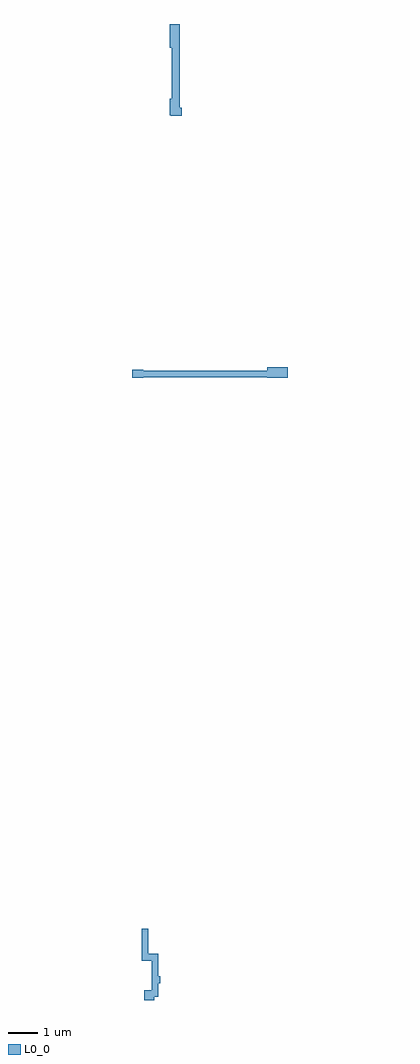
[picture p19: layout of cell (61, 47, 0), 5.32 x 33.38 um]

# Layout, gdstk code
import gdstk
lib = gdstk.Library(unit=1e-6, precision=1e-09)
def P(c, l, *ps):  # polygons
    for p in ps: c.add(gdstk.Polygon(p, *l))
L0_0 = (0, 0)

c__61__47__0_ = lib.new_cell('(61, 47, 0)')
P(c__61__47__0_, L0_0, [(940.64,923.3),(941.02,923.3),(941.02,923.02),(940.64,923.02),(940.64,923.3)],
  [(936.02,923.3),(936.4,923.3),(936.4,923.02),(936.02,923.02),(936.02,923.3)],
  [(940.64,923.39),(941.34,923.39),(941.34,923.02),(940.64,923.02),(940.64,923.39)],
  [(936.095,923.275),(940.83,923.275),(940.83,923.045),(936.095,923.045),(936.095,923.275)],
  [(940.64,923.3),(941.02,923.3),(941.02,923.02),(940.64,923.02),(940.64,923.3)],
  [(940.64,923.39),(941.34,923.39),(941.34,923.02),(940.64,923.02),(940.64,923.39)],
  [(937.65,935.125),(937.65,932),(937.31,932),(937.31,932.57),(937.365,932.57),(937.365,934.315),(937.31,934.315),(937.31,935.125),(937.65,935.125)],
  [(937.34,932.26),(937.72,932.26),(937.72,931.98),(937.34,931.98),(937.34,932.26)],
  [(936.57,904.185),(936.57,903.325),(936.91,903.325),(936.91,902.555),(936.985,902.555),(936.985,902.325),(936.91,902.325),(936.91,901.86),(936.77,901.86),(936.77,901.75),(936.43,901.75),(936.43,902.09),(936.68,902.09),(936.68,903.095),(936.34,903.095),(936.34,904.185),(936.57,904.185)])

lib.write_gds('_61__47__0_.gds')
